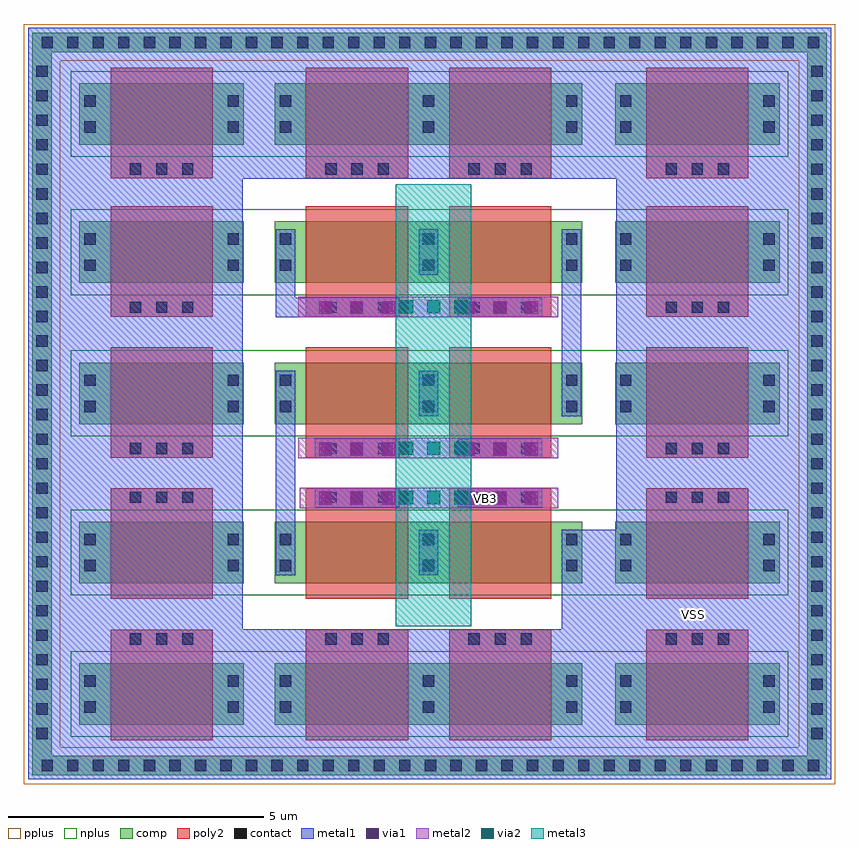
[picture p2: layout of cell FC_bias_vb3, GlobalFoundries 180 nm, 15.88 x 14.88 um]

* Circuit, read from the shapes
.subckt FC_bias_vb3 VB3 VSS
XM1 VSS VSS VSS VSS nfet_03v3 w=1.2u l=2u m=14
XM2 n1 VB3 n2 VSS nfet_03v3 w=1.2u l=2u
XM3 n3 VB3 n2 VSS nfet_03v3 w=1.2u l=2u
XM4 n4 VB3 VB3 VSS nfet_03v3 w=1.2u l=2u
XM5 VSS VB3 n1 VSS nfet_03v3 w=1.2u l=2u
XM6 n5 VB3 n3 VSS nfet_03v3 w=1.2u l=2u
XM7 n5 VB3 n4 VSS nfet_03v3 w=1.2u l=2u
.ends

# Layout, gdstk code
from math import pi, radians
import gdstk
lib = gdstk.Library(unit=1e-6, precision=1e-09)
def R(c, l, rs):  # rectangles x0, y0, x1, y1
    for r in rs: c.add(gdstk.rectangle(r[:2], r[2:], *l))
def A(c, l, x, y, w, h, nx, ny, dx, dy):  # array of equal rectangles
    R(c, l, [(x+i*dx, y+j*dy, x+i*dx+w, y+j*dy+h) for i in range(nx) for j in range(ny)])
comp = (22, 0)
poly2 = (30, 0)
pplus = (31, 0)
nplus = (32, 0)
contact = (33, 0)
metal1 = (34, 0)
via1 = (35, 0)
metal2 = (36, 0)
via2 = (38, 0)
metal3 = (42, 0)

nfet_1 = lib.new_cell('nfet$1')
R(nfet_1, comp, [(-0.42,0,0,1.2), (0,0,2.38,1.2), (2.38,0,2.8,1.2)])
R(nfet_1, poly2, [(0.19,-0.3,2.19,1.5), (0.19,1.5,2.19,1.86)])
R(nfet_1, nplus, [(-0.59,-0.24,2.97,1.44)])
A(nfet_1, contact, 0.57, 1.57, 0.22, 0.22, 3, 1, 0.51, 0)
R(nfet_1, contact, [(-0.32,0.235,-0.1,0.455), (2.48,0.235,2.7,0.455), (-0.32,0.745,-0.1,0.965), (2.48,0.745,2.7,0.965)])
R(nfet_1, metal1, [(-0.4,0.155,-0.02,1.045), (2.4,0.155,2.78,1.045), (0.49,1.49,1.89,1.87)])

fc_bias_vb3 = lib.new_cell('FC_bias_vb3')
R(fc_bias_vb3, comp, [(-3.15,2.08,12.395,2.46), (-3.15,2.09,-2.77,16.29), (12.015,2.11,12.395,16.345), (-3.15,16.235,12.395,16.615)])
R(fc_bias_vb3, pplus, [(-3.32,1.91,12.565,2.63), (-3.32,2.295,-2.6,16.785), (11.845,2.295,12.565,16.085), (-3.185,16.065,12.565,16.785)])
R(fc_bias_vb3, nplus, [(1.16,2.83,1.46,4.51), (7.785,2.83,8.085,4.51), (1.16,5.6,1.46,7.28), (7.785,5.6,8.085,7.28), (1.16,8.715,1.46,10.395), (7.785,8.715,8.085,10.395), (1.16,11.48,1.46,13.16), (7.785,11.48,8.085,13.16), (1.16,14.185,1.46,15.865), (7.785,14.185,8.085,15.865)])
A(fc_bias_vb3, contact, -2.97, 2.16, 0.22, 0.22, 31, 2, 0.5, 14.155)
A(fc_bias_vb3, contact, -3.07, 2.79, 0.22, 0.22, 1, 28, 0, 0.48)
A(fc_bias_vb3, contact, 12.095, 2.79, 0.22, 0.22, 1, 28, 0, 0.48)
R(fc_bias_vb3, metal1, [(-3.235,2,0.97,15.47), (-2.21,2,8.325,4.94), (8.275,2,12.485,16.71), (7.215,4.825,8.42,6.885), (1.615,6.625,1.995,9.575), (2.38,7.33,4.03,7.71), (5.18,7.33,6.83,7.71), (2.38,8.285,4.03,8.665), (5.18,8.285,6.83,8.665), (7.215,9.6,7.595,12.55), (1.615,11.05,1.995,11.95), (1.75,11.05,2.53,11.43), (2.38,11.05,4.03,11.43), (5.18,11.05,6.83,11.43), (-3.235,13.755,8.325,16.71)])
R(fc_bias_vb3, via1, [(2.45,7.38,2.71,7.64), (2.45,7.38,2.71,7.64), (2.45,7.38,2.71,7.64), (2.45,7.38,2.71,7.64), (2.45,7.38,2.71,7.64), (2.45,7.38,2.71,7.64), (2.45,7.38,2.71,7.64), (2.45,7.38,2.71,7.64), (3.07,7.38,3.33,7.64), (3.07,7.38,3.33,7.64), (3.07,7.38,3.33,7.64), (3.07,7.38,3.33,7.64), (3.07,7.38,3.33,7.64), (3.07,7.38,3.33,7.64), (3.07,7.38,3.33,7.64), (3.07,7.38,3.33,7.64), (3.69,7.38,3.95,7.64), (3.69,7.38,3.95,7.64), (3.69,7.38,3.95,7.64), (3.69,7.38,3.95,7.64), (3.69,7.38,3.95,7.64), (3.69,7.38,3.95,7.64), (3.69,7.38,3.95,7.64), (3.69,7.38,3.95,7.64), (5.25,7.38,5.51,7.64), (5.25,7.38,5.51,7.64), (5.25,7.38,5.51,7.64), (5.25,7.38,5.51,7.64), (5.25,7.38,5.51,7.64), (5.25,7.38,5.51,7.64), (5.25,7.38,5.51,7.64), (5.25,7.38,5.51,7.64), (5.87,7.38,6.13,7.64), (5.87,7.38,6.13,7.64), (5.87,7.38,6.13,7.64), (5.87,7.38,6.13,7.64), (5.87,7.38,6.13,7.64), (5.87,7.38,6.13,7.64), (5.87,7.38,6.13,7.64), (5.87,7.38,6.13,7.64), (6.49,7.38,6.75,7.64), (6.49,7.38,6.75,7.64), (6.49,7.38,6.75,7.64), (6.49,7.38,6.75,7.64), (6.49,7.38,6.75,7.64), (6.49,7.38,6.75,7.64), (6.49,7.38,6.75,7.64), (6.49,7.38,6.75,7.64), (2.45,8.335,2.71,8.595), (2.45,8.335,2.71,8.595), (2.45,8.335,2.71,8.595), (2.45,8.335,2.71,8.595), (2.45,8.335,2.71,8.595), (2.45,8.335,2.71,8.595), (2.45,8.335,2.71,8.595), (2.45,8.335,2.71,8.595), (3.07,8.335,3.33,8.595), (3.07,8.335,3.33,8.595), (3.07,8.335,3.33,8.595), (3.07,8.335,3.33,8.595), (3.07,8.335,3.33,8.595), (3.07,8.335,3.33,8.595), (3.07,8.335,3.33,8.595), (3.07,8.335,3.33,8.595), (3.69,8.335,3.95,8.595), (3.69,8.335,3.95,8.595), (3.69,8.335,3.95,8.595), (3.69,8.335,3.95,8.595), (3.69,8.335,3.95,8.595), (3.69,8.335,3.95,8.595), (3.69,8.335,3.95,8.595), (3.69,8.335,3.95,8.595), (5.25,8.335,5.51,8.595), (5.25,8.335,5.51,8.595), (5.25,8.335,5.51,8.595), (5.25,8.335,5.51,8.595), (5.25,8.335,5.51,8.595), (5.25,8.335,5.51,8.595), (5.25,8.335,5.51,8.595), (5.25,8.335,5.51,8.595), (5.87,8.335,6.13,8.595), (5.87,8.335,6.13,8.595), (5.87,8.335,6.13,8.595), (5.87,8.335,6.13,8.595), (5.87,8.335,6.13,8.595), (5.87,8.335,6.13,8.595), (5.87,8.335,6.13,8.595), (5.87,8.335,6.13,8.595), (6.49,8.335,6.75,8.595), (6.49,8.335,6.75,8.595), (6.49,8.335,6.75,8.595), (6.49,8.335,6.75,8.595), (6.49,8.335,6.75,8.595), (6.49,8.335,6.75,8.595), (6.49,8.335,6.75,8.595), (6.49,8.335,6.75,8.595), (2.45,11.1,2.71,11.36), (2.45,11.1,2.71,11.36), (2.45,11.1,2.71,11.36), (2.45,11.1,2.71,11.36), (2.45,11.1,2.71,11.36), (2.45,11.1,2.71,11.36), (2.45,11.1,2.71,11.36), (2.45,11.1,2.71,11.36), (3.07,11.1,3.33,11.36), (3.07,11.1,3.33,11.36), (3.07,11.1,3.33,11.36), (3.07,11.1,3.33,11.36), (3.07,11.1,3.33,11.36), (3.07,11.1,3.33,11.36), (3.07,11.1,3.33,11.36), (3.07,11.1,3.33,11.36), (3.69,11.1,3.95,11.36), (3.69,11.1,3.95,11.36), (3.69,11.1,3.95,11.36), (3.69,11.1,3.95,11.36), (3.69,11.1,3.95,11.36), (3.69,11.1,3.95,11.36), (3.69,11.1,3.95,11.36), (3.69,11.1,3.95,11.36), (5.25,11.1,5.51,11.36), (5.25,11.1,5.51,11.36), (5.25,11.1,5.51,11.36), (5.25,11.1,5.51,11.36), (5.25,11.1,5.51,11.36), (5.25,11.1,5.51,11.36), (5.25,11.1,5.51,11.36), (5.25,11.1,5.51,11.36), (5.87,11.1,6.13,11.36), (5.87,11.1,6.13,11.36), (5.87,11.1,6.13,11.36), (5.87,11.1,6.13,11.36), (5.87,11.1,6.13,11.36), (5.87,11.1,6.13,11.36), (5.87,11.1,6.13,11.36), (5.87,11.1,6.13,11.36), (6.49,11.1,6.75,11.36), (6.49,11.1,6.75,11.36), (6.49,11.1,6.75,11.36), (6.49,11.1,6.75,11.36), (6.49,11.1,6.75,11.36), (6.49,11.1,6.75,11.36), (6.49,11.1,6.75,11.36), (6.49,11.1,6.75,11.36)])
R(fc_bias_vb3, metal2, [(2.085,7.31,7.145,7.71), (2.055,8.285,7.14,8.685), (2.055,11.05,7.14,11.45)])
R(fc_bias_vb3, via2, [(4.045,7.39,4.305,7.65), (4.045,7.39,4.305,7.65), (4.575,7.39,4.835,7.65), (4.575,7.39,4.835,7.65), (5.105,7.39,5.365,7.65), (5.105,7.39,5.365,7.65), (4.045,8.35,4.305,8.61), (4.045,8.35,4.305,8.61), (4.575,8.35,4.835,8.61), (4.575,8.35,4.835,8.61), (5.105,8.35,5.365,8.61), (5.105,8.35,5.365,8.61), (4.045,11.12,4.305,11.38), (4.045,11.12,4.305,11.38), (4.575,11.12,4.835,11.38), (4.575,11.12,4.835,11.38), (5.105,11.12,5.365,11.38), (5.105,11.12,5.365,11.38)])
R(fc_bias_vb3, metal3, [(3.96,5,5.44,13.645)])
fc_bias_vb3.add(gdstk.Reference(nfet_1, (2.015,5.84)))
fc_bias_vb3.add(gdstk.Reference(nfet_1, (4.815,5.84)))
fc_bias_vb3.add(gdstk.Reference(nfet_1, (7.195,10.155), rotation=pi))
fc_bias_vb3.add(gdstk.Reference(nfet_1, (4.395,10.155), rotation=pi))
fc_bias_vb3.add(gdstk.Reference(nfet_1, (7.195,12.92), rotation=pi))
fc_bias_vb3.add(gdstk.Reference(nfet_1, (4.395,12.92), rotation=pi))
fc_bias_vb3.add(gdstk.Reference(nfet_1, (2.015,3.07)))
fc_bias_vb3.add(gdstk.Reference(nfet_1, (4.815,3.07)))
fc_bias_vb3.add(gdstk.Reference(nfet_1, (7.195,15.625), rotation=pi))
fc_bias_vb3.add(gdstk.Reference(nfet_1, (4.395,15.625), rotation=pi))
fc_bias_vb3.add(gdstk.Reference(nfet_1, (8.675,5.84)))
fc_bias_vb3.add(gdstk.Reference(nfet_1, (11.055,10.155), rotation=pi))
fc_bias_vb3.add(gdstk.Reference(nfet_1, (11.055,12.92), rotation=pi))
fc_bias_vb3.add(gdstk.Reference(nfet_1, (8.675,3.07)))
fc_bias_vb3.add(gdstk.Reference(nfet_1, (11.055,15.625), rotation=pi))
fc_bias_vb3.add(gdstk.Reference(nfet_1, (-1.81,5.84)))
fc_bias_vb3.add(gdstk.Reference(nfet_1, (0.57,10.155), rotation=pi))
fc_bias_vb3.add(gdstk.Reference(nfet_1, (0.57,12.92), rotation=pi))
fc_bias_vb3.add(gdstk.Reference(nfet_1, (-1.81,3.07)))
fc_bias_vb3.add(gdstk.Reference(nfet_1, (0.57,15.625), rotation=pi))
fc_bias_vb3.add(gdstk.Label('VSS', (9.785,5.225), layer=34, texttype=10))
fc_bias_vb3.add(gdstk.Label('VB3', (5.725,7.495), layer=34, texttype=10))

lib.write_gds('FC_bias_vb3.gds')
